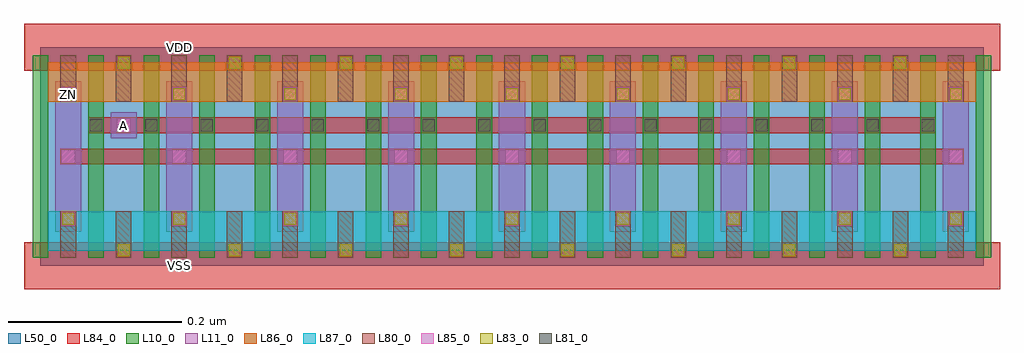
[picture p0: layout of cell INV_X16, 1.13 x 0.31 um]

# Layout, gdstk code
import gdstk
lib = gdstk.Library(unit=1e-6, precision=1e-09)
def R(c, l, rs):  # rectangles x0, y0, x1, y1
    for r in rs: c.add(gdstk.rectangle(r[:2], r[2:], *l))
def A(c, l, x, y, w, h, nx, ny, dx, dy):  # array of equal rectangles
    R(c, l, [(x+i*dx, y+j*dy, x+i*dx+w, y+j*dy+h) for i in range(nx) for j in range(ny)])
L10_0 = (10, 0)
L11_0 = (11, 0)
L50_0 = (50, 0)
L80_0 = (80, 0)
L81_0 = (81, 0)
L83_0 = (83, 0)
L84_0 = (84, 0)
L85_0 = (85, 0)
L86_0 = (86, 0)
L87_0 = (87, 0)

inv_x16 = lib.new_cell('INV_X16')
A(inv_x16, L10_0, -0.009, 0.009, 0.018, 0.234, 5, 1, 0.064, 0)
A(inv_x16, L10_0, 0.311, 0.009, 0.018, 0.234, 4, 1, 0.064, 0)
A(inv_x16, L10_0, 0.567, 0.009, 0.018, 0.234, 4, 1, 0.064, 0)
A(inv_x16, L10_0, 0.823, 0.009, 0.018, 0.234, 5, 1, 0.064, 0)
R(inv_x16, L10_0, [(0.247,0.009,0.265,0.243), (0.311,0.009,0.329,0.243), (0.503,0.009,0.521,0.243), (0.567,0.009,0.585,0.243), (0.759,0.009,0.777,0.243), (0.823,0.009,0.841,0.243)])
A(inv_x16, L11_0, 0.017, 0.039, 0.03, 0.174, 3, 1, 0.128, 0)
A(inv_x16, L11_0, 0.273, 0.039, 0.03, 0.174, 3, 1, 0.128, 0)
A(inv_x16, L11_0, 0.529, 0.039, 0.03, 0.174, 3, 1, 0.128, 0)
A(inv_x16, L11_0, 0.785, 0.039, 0.03, 0.174, 3, 1, 0.128, 0)
R(inv_x16, L11_0, [(0.081,0.147,0.111,0.177)])
R(inv_x16, L50_0, [(0,0,1.088,0.252)])
A(inv_x16, L80_0, 0.023, 0.009, 0.018, 0.054, 5, 2, 0.064, 0.18)
A(inv_x16, L80_0, 0.279, 0.009, 0.018, 0.054, 5, 2, 0.064, 0.18)
A(inv_x16, L80_0, 0.535, 0.009, 0.018, 0.054, 5, 2, 0.064, 0.18)
A(inv_x16, L80_0, 0.791, 0.009, 0.018, 0.054, 5, 2, 0.064, 0.18)
A(inv_x16, L81_0, 0.057, 0.155, 0.014, 0.014, 16, 1, 0.064, 0)
A(inv_x16, L83_0, 0.089, 0.011, 0.014, 0.014, 8, 2, 0.128, 0.216)
A(inv_x16, L83_0, 0.025, 0.047, 0.014, 0.014, 3, 2, 0.128, 0.144)
A(inv_x16, L83_0, 0.281, 0.047, 0.014, 0.014, 3, 2, 0.128, 0.144)
A(inv_x16, L83_0, 0.537, 0.047, 0.014, 0.014, 3, 2, 0.128, 0.144)
A(inv_x16, L83_0, 0.793, 0.047, 0.014, 0.014, 3, 2, 0.128, 0.144)
A(inv_x16, L84_0, -0.019, -0.027, 0.358, 0.054, 4, 2, 0.256, 0.252)
A(inv_x16, L84_0, 0.023, 0.045, 0.018, 0.018, 3, 2, 0.128, 0.144)
A(inv_x16, L84_0, 0.279, 0.045, 0.018, 0.018, 3, 2, 0.128, 0.144)
A(inv_x16, L84_0, 0.535, 0.045, 0.018, 0.018, 3, 2, 0.128, 0.144)
A(inv_x16, L84_0, 0.791, 0.045, 0.018, 0.018, 3, 2, 0.128, 0.144)
A(inv_x16, L84_0, 0.023, 0.117, 0.274, 0.018, 4, 1, 0.256, 0)
R(inv_x16, L84_0, [(0.055,0.153,0.313,0.171), (0.311,0.153,0.585,0.171), (0.567,0.153,0.825,0.171), (0.823,0.153,1.033,0.171)])
A(inv_x16, L85_0, 0.024, 0.046, 0.016, 0.016, 3, 3, 0.128, 0.072)
A(inv_x16, L85_0, 0.28, 0.046, 0.016, 0.016, 3, 3, 0.128, 0.072)
A(inv_x16, L85_0, 0.536, 0.046, 0.016, 0.016, 3, 3, 0.128, 0.072)
A(inv_x16, L85_0, 0.792, 0.046, 0.016, 0.016, 3, 3, 0.128, 0.072)
R(inv_x16, L85_0, [(0.088,0.154,0.104,0.17)])
A(inv_x16, L86_0, 0.009, 0.189, 0.302, 0.046, 4, 1, 0.256, 0)
A(inv_x16, L87_0, 0.009, 0.017, 0.302, 0.046, 4, 1, 0.256, 0)
inv_x16.add(gdstk.Label('VSS', (0.16,0), layer=88, texttype=0))
inv_x16.add(gdstk.Label('VDD', (0.16,0.252), layer=88, texttype=0))
inv_x16.add(gdstk.Label('A', (0.096,0.162), layer=31, texttype=0))
inv_x16.add(gdstk.Label('ZN', (0.032,0.198), layer=31, texttype=0))

lib.write_gds('INV_X16.gds')
